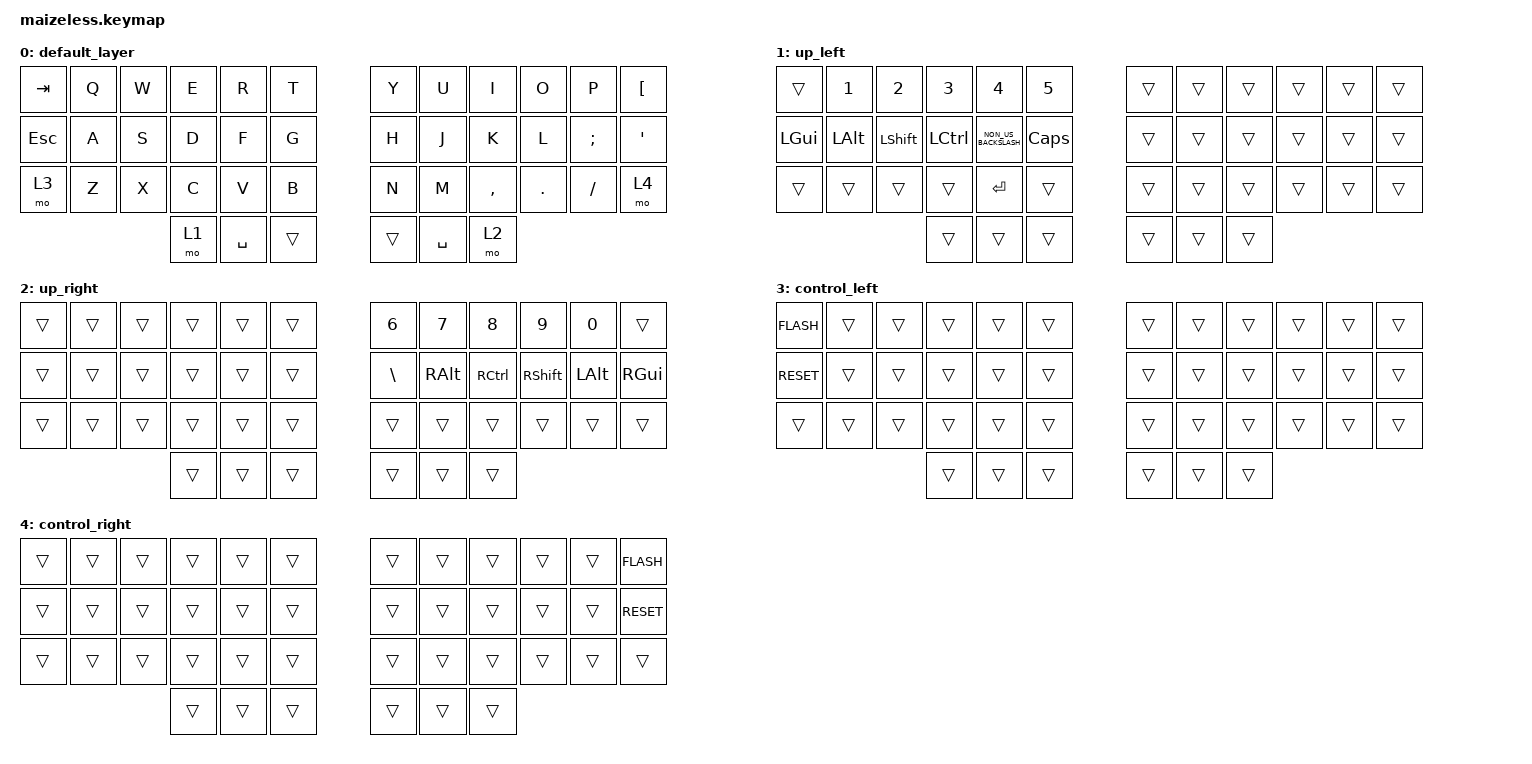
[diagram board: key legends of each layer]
/*
 * Copyright (c) 2020 The ZMK Contributors
 *
 * SPDX-License-Identifier: MIT
 */

#include <behaviors.dtsi>
#include <dt-bindings/zmk/keys.h>
#include <dt-bindings/zmk/bt.h>

#define LLS3 CAPSLOCK // Neo Layer 3 switch
#define RLS3 BACKSLASH // Neo Layer 3 switch
#define LLS4 NON_US_BACKSLASH // Neo Layer 4 switch
#define RLS4 RIGHT_ALT // Neo Layer 4 switch

#define DSZ SLASH
#define DAE SINGLE_QUOTE
#define DOE SEMICOLON
#define DUE LEFT_BRACKET

#define FLASH bootloader
#define RESET sys_reset

/ {
        keymap {
                compatible = "zmk,keymap";

                default_layer {
// -----------------------------------------------------------------------------------------
// | TAB |  Q  |  W  |  E  |  R  |  T  |   |  Y  |  U  |  I  |  O  |  P  |  Ü  |
// | ESC |  A  |  S  |  D  |  F  |  G  |   |  H  |  J  |  K  |  L  |  Ö  |  Ä  |
// |     |  Z  |  X  |  C  |  V  |  B  |   |  F  |  M  |  ,  |  .  |  ẞ  |     |
//                   | UPL | SPC |     |   |     | SPC | UPR |
                        bindings = <
   &kp TAB &kp Q &kp W &kp E &kp R   &kp T    &kp Y  &kp U   &kp I     &kp O   &kp P    &kp DUE
   &kp ESC &kp A &kp S &kp D &kp F   &kp G    &kp H  &kp J   &kp K     &kp L   &kp DOE  &kp DAE
   &mo 3   &kp Z &kp X &kp C &kp V   &kp B    &kp N  &kp M   &kp COMMA &kp DOT &kp DSZ  &mo 4
                       &mo 1 &kp SPC &trans   &trans &kp SPC &mo 2
                        >;
                };
                up_left {
// -----------------------------------------------------------------------------------------
// |     |  1  |  2  |  3  |  4  |  5  |   |     |     |     |     |     |     |
// |  s  |  M  |  S  |  C  | LS4 | LS3 |   |     |     |     |     |     |     |
// |     |     |     |     | RET |     |   |     |     |     |     |     |     |
//                   |     |     |     |   |     |     |     |
                        bindings = <
   &trans   &kp N1   &kp N2     &kp N3    &kp N4   &kp N5     &trans &trans &trans &trans &trans &trans
   &kp LGUI &kp LALT &kp LSHIFT &kp LCTRL &kp LLS4 &kp LLS3   &trans &trans &trans &trans &trans &trans
   &trans   &trans   &trans     &trans    &kp RET  &trans     &trans &trans &trans &trans &trans &trans
                                &trans    &trans   &trans     &trans &trans &trans
                        >;
                };

                up_right {
// -----------------------------------------------------------------------------------------
// |     |     |     |     |     |     |   |  6  |  7  |  8  |  9  |  0  |     |
// |     |     |     |     |     |     |   | LS3 | LS4 |  C  |  S  |  M  |  s  |
// |     |     |     |     |     |     |   |     |     |     |     |     |     |
//                   |     |     |     |   |     |     |     |
                        bindings = <
   &trans &trans &trans &trans &trans &trans   &kp N6   &kp N7   &kp N8    &kp N9     &kp N0   &trans
   &trans &trans &trans &trans &trans &trans   &kp RLS3 &kp RLS4 &kp RCTRL &kp RSHIFT &kp LALT &kp RGUI
   &trans &trans &trans &trans &trans &trans   &trans   &trans   &trans    &trans     &trans   &trans
                        &trans &trans &trans   &trans   &trans   &trans
                        >;
                };

                control_left {
// -----------------------------------------------------------------------------------------
// | FLSH |     |     |     |     |     |   |     |     |     |     |     |     |
// | RST  |     |     |     |     |     |   |     |     |     |     |     |     |
// |      |     |     |     |     |     |   |     |     |     |     |     |     |
//                    |     |     |     |   |     |     |     |
                        bindings = <
   &FLASH &trans &trans &trans &trans &trans   &trans &trans &trans &trans &trans &trans
   &RESET &trans &trans &trans &trans &trans   &trans &trans &trans &trans &trans &trans
   &trans &trans &trans &trans &trans &trans   &trans &trans &trans &trans &trans &trans
                        &trans &trans &trans   &trans &trans &trans
                        >;
                };

                control_right {
// -----------------------------------------------------------------------------------------
// |     |     |     |     |     |     |   |     |     |     |     |     | FLSH |
// |     |     |     |     |     |     |   |     |     |     |     |     | RST  |
// |     |     |     |     |     |     |   |     |     |     |     |     |      |
//                   |     |     |     |   |     |     |     |
                        bindings = <
   &trans &trans &trans &trans &trans &trans   &trans &trans &trans &trans &trans &FLASH
   &trans &trans &trans &trans &trans &trans   &trans &trans &trans &trans &trans &RESET
   &trans &trans &trans &trans &trans &trans   &trans &trans &trans &trans &trans &trans
                        &trans &trans &trans   &trans &trans &trans
                        >;
                };
        };
};
